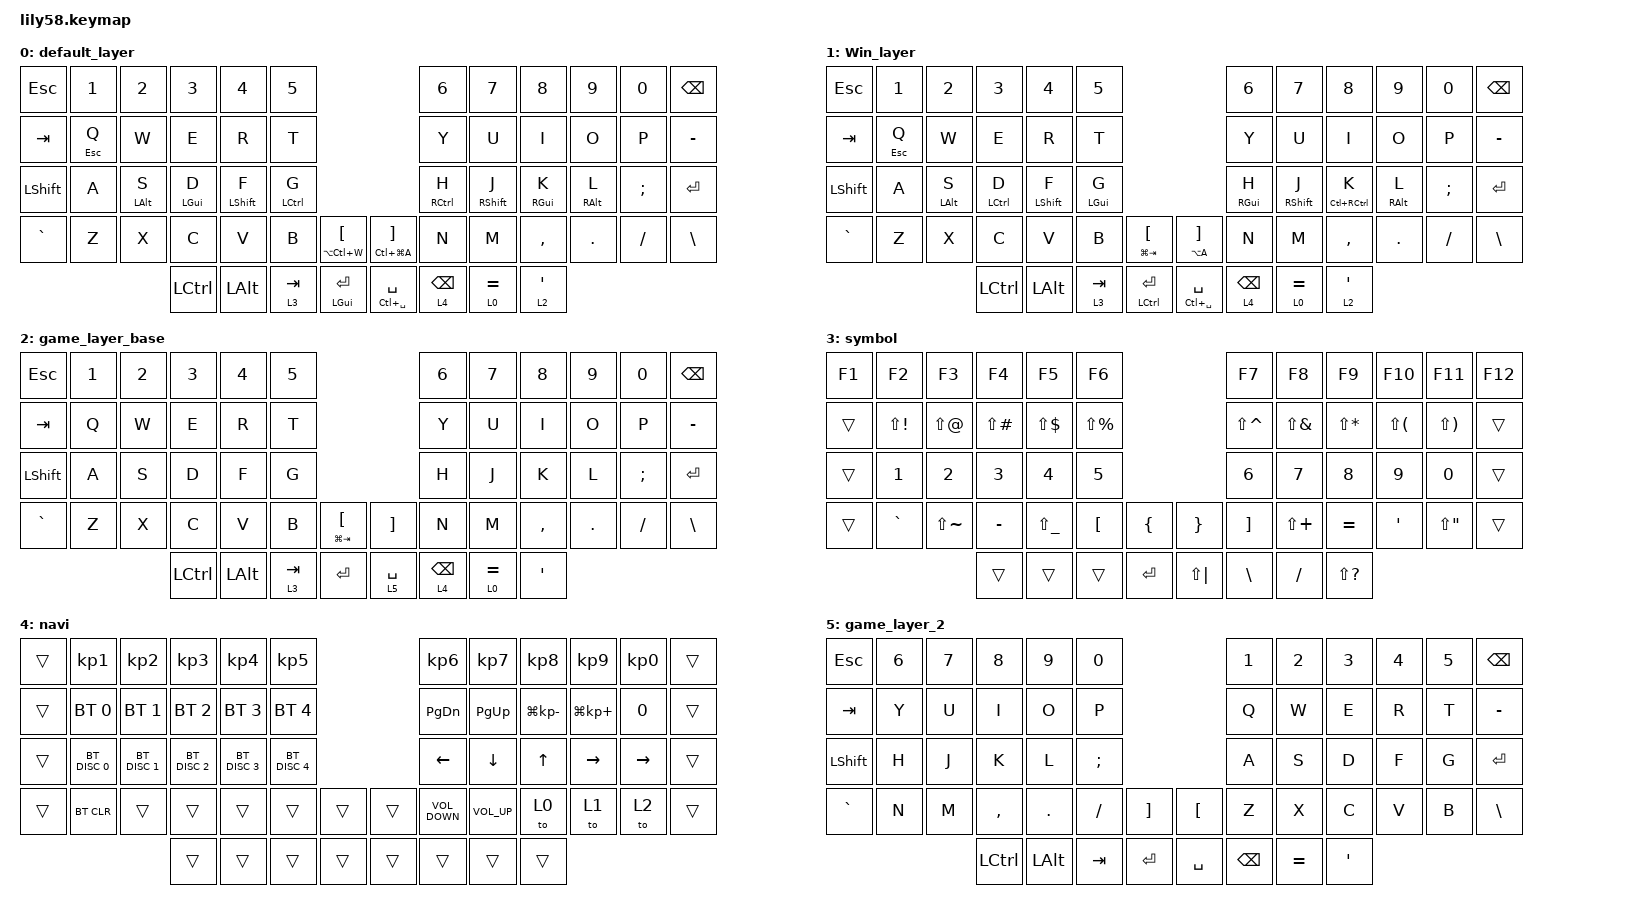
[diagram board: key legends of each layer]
/*
 * Copyright (c) 2020 The ZMK Contributors
 *
 * SPDX-License-Identifier: MIT
 */

#define BASE 0
#define LOWER 1
#define MOUSE_KEYS 2
#define MOUSE_TP 3
#define MOUSE_TP_SET 4
#define GAME 5
#define HAS_MOUSE_KEYS
#define HAS_MOUSE_TP

#include <dt-bindings/zmk/mouse.h>
#include <behaviors/mouse_keys.dtsi>
#include <behaviors.dtsi>
#include <dt-bindings/zmk/bt.h>
#include <dt-bindings/zmk/keys.h>
#include <dt-bindings/zmk/pointing.h>

/ {
    behaviors {
        /* [修复 1] 新增：定义缺失的 lt (Layer Tap) 行为 */

        lt: layer_tap {
            compatible = "zmk,behavior-hold-tap";
            label = "LAYER_TAP";
            bindings = <&mo>, <&kp>;

            #binding-cells = <2>;
            tapping-term-ms = <200>;
            flavor = "tap-preferred";
        };

        hm: homerow_mods {
            compatible = "zmk,behavior-hold-tap";
            label = "homerow_mods";
            bindings = <&kp>, <&kp>;

            #binding-cells = <2>;
            tapping-term-ms = <200>;
            flavor = "tap-preferred";
        };

        leftclick: leftclick {
            compatible = "zmk,behavior-tap-dance";
            label = "LEFTCLICK";
            #binding-cells = <0>;
            bindings = <&hm LC(SPACE) SPACE>, <&mkp LCLK>;
        };

        mouseclick_keypress: mouseclick_keypress {
            compatible = "zmk,behavior-hold-tap";
            label = "MOUSECLICK_KEYPRESS";
            bindings = <&mkp>, <&kp>;

            #binding-cells = <2>;
            tapping-term-ms = <200>;
            flavor = "tap-preferred";
        };

        /* [修复 2] 修正：将 &toggle 改为 &tog (ZMK 标准行为) */

        layer_lock: layer_lock {
            compatible = "zmk,behavior-hold-tap";
            label = "LAYER_LOCK";

            /* ZMK hold-tap 顺序为：<&长按行为>, <&轻按行为> */
            /* 意图：轻按=退格，长按=切换游戏层 */

            bindings = <&to>, <&kp>;

            #binding-cells = <2>;
            tapping-term-ms = <300>;
            flavor = "tap-preferred";
        };
    };

    /* [修复 3] 修正：条件层语法（去掉多余的尖括号） */

    conditional_layers {
        compatible = "zmk,conditional-layers";

        /* 格式：<目标层 掩码> */

        layers = < 5 ((1 << 1) | (1 << 2)) >;
    };

    keymap {
        compatible = "zmk,keymap";

        /* ========== 原有默认层：仅修改右上角 BACKSPACE 为 game_lock ========== */

        default_layer {
            bindings = <
&kp ESC     &kp N1        &kp N2          &kp N3      &kp N4       &kp N5                                                          &kp N6           &kp N7               &kp N8             &kp N9           &kp N0    &kp BACKSPACE
&kp TAB     &hm ESCAPE Q  &kp W           &kp E       &kp R        &kp T                                                           &kp Y            &kp U                &kp I              &kp O            &kp P     &kp MINUS
&kp LSHIFT  &kp A         &hm LEFT_ALT S  &hm LGUI D  &hm LSHFT F  &hm LCTRL G                                                     &hm RCTRL H      &hm RSHFT J          &hm RGUI K         &hm RIGHT_ALT L  &kp SEMI  &kp ENTER
&kp GRAVE   &kp Z         &kp X           &kp C       &kp V        &kp B        &hm LA(LC(W)) LBKT    &hm LC(LG(A)) RIGHT_BRACKET  &kp N            &kp M                &kp COMMA          &kp DOT          &kp FSLH  &kp BACKSLASH
                                          &kp LCTRL   &kp LALT     &lt 3 TAB    &hm LEFT_GUI ENTER    &hm LC(SPACE) SPACE          &lt 4 BACKSPACE  &layer_lock 0 EQUAL  &layer_lock 2 SQT
            >;
        };

        Win_layer {
            bindings = <
&kp ESC     &kp N1        &kp N2          &kp N3       &kp N4       &kp N5                                                   &kp N6           &kp N7               &kp N8             &kp N9           &kp N0    &kp BACKSPACE
&kp TAB     &hm ESCAPE Q  &kp W           &kp E        &kp R        &kp T                                                    &kp Y            &kp U                &kp I              &kp O            &kp P     &kp MINUS
&kp LSHIFT  &kp A         &hm LEFT_ALT S  &hm LCTRL D  &hm LSHFT F  &hm LGUI G                                               &hm RGUI H       &hm RSHFT J          &hm LC(RCTRL) K    &hm RIGHT_ALT L  &kp SEMI  &kp ENTER
&kp GRAVE   &kp Z         &kp X           &kp C        &kp V        &kp B       &hm LG(TAB) LBKT    &hm LA(A) RIGHT_BRACKET  &kp N            &kp M                &kp COMMA          &kp DOT          &kp FSLH  &kp BACKSLASH
                                          &kp LCTRL    &kp LALT     &lt 3 TAB   &hm LCTRL ENTER     &hm LC(SPACE) SPACE      &lt 4 BACKSPACE  &layer_lock 0 EQUAL  &layer_lock 2 SQT
            >;
        };

        game_layer_base {
            bindings = <
&kp ESC     &kp N1  &kp N2  &kp N3     &kp N4    &kp N5                                      &kp N6           &kp N7               &kp N8            &kp N9   &kp N0    &kp BACKSPACE
&kp TAB     &kp Q   &kp W   &kp E      &kp R     &kp T                                       &kp Y            &kp U                &kp I             &kp O    &kp P     &kp MINUS
&kp LSHIFT  &kp A   &kp S   &kp D      &kp F     &kp G                                       &kp H            &kp J                &kp K             &kp L    &kp SEMI  &kp ENTER
&kp GRAVE   &kp Z   &kp X   &kp C      &kp V     &kp B      &hm LG(TAB) LBKT    &kp RBKT     &kp N            &kp M                &kp COMMA         &kp DOT  &kp FSLH  &kp BACKSLASH
                            &kp LCTRL  &kp LALT  &lt 3 TAB  &kp ENTER           &lt 5 SPACE  &lt 4 BACKSPACE  &layer_lock 0 EQUAL  &kp SINGLE_QUOTE
            >;
        };

        symbol {
            bindings = <
&kp F1  &kp F2        &kp F3         &kp F4         &kp F5         &kp F6                                            &kp F7         &kp F8        &kp F9         &kp F10       &kp F11       &kp F12
&trans  &kp LS(EXCL)  &kp LS(AT)     &kp LS(POUND)  &kp LS(DLLR)   &kp LS(PRCNT)                                     &kp LS(CARET)  &kp LS(AMPS)  &kp LS(STAR)   &kp LS(LPAR)  &kp LS(RPAR)  &trans
&trans  &kp N1        &kp N2         &kp N3         &kp N4         &kp N5                                            &kp N6         &kp N7        &kp N8         &kp N9        &kp N0        &trans
&trans  &kp GRAVE     &kp LS(TILDE)  &kp MINUS      &kp LS(UNDER)  &kp LBKT       &kp LEFT_BRACE    &kp RIGHT_BRACE  &kp RBKT       &kp LS(PLUS)  &kp EQUAL      &kp SQT       &kp LS(DQT)   &trans
                                     &trans         &trans         &trans         &kp RET           &kp LS(PIPE)     &kp BACKSLASH  &kp FSLH      &kp LS(QMARK)
            >;
        };

        navi {
            bindings = <
&trans  &kp KP_NUMBER_1  &kp KP_NUMBER_2  &kp KP_NUMBER_3  &kp KP_NUMBER_4  &kp KP_NUMBER_5                    &kp KP_NUMBER_6    &kp KP_NUMBER_7  &kp KP_NUMBER_8   &kp KP_NUMBER_9  &kp KP_NUMBER_0  &trans
&trans  &bt BT_SEL 0     &bt BT_SEL 1     &bt BT_SEL 2     &bt BT_SEL 3     &bt BT_SEL 4                       &kp PAGE_DOWN      &kp PAGE_UP      &kp LG(KP_MINUS)  &kp LG(KP_PLUS)  &kp N0           &trans
&trans  &bt BT_DISC 0    &bt BT_DISC 1    &bt BT_DISC 2    &bt BT_DISC 3    &bt BT_DISC 4                      &kp LEFT           &kp DOWN         &kp UP_ARROW      &kp RIGHT        &kp RIGHT        &trans
&trans  &bt BT_CLR       &trans           &trans           &trans           &trans           &trans    &trans  &kp C_VOLUME_DOWN  &kp C_VOLUME_UP  &to 0             &to 1            &to 2            &trans
                                          &trans           &trans           &trans           &trans    &trans  &trans             &trans           &trans
            >;
        };

        game_layer_2 {
            bindings = <
&kp ESC     &kp N6  &kp N7  &kp N8     &kp N9    &kp N0                            &kp N1         &kp N2     &kp N3            &kp N4  &kp N5  &kp BACKSPACE
&kp TAB     &kp Y   &kp U   &kp I      &kp O     &kp P                             &kp Q          &kp W      &kp E             &kp R   &kp T   &kp MINUS
&kp LSHIFT  &kp H   &kp J   &kp K      &kp L     &kp SEMI                          &kp A          &kp S      &kp D             &kp F   &kp G   &kp ENTER
&kp GRAVE   &kp N   &kp M   &kp COMMA  &kp DOT   &kp FSLH  &kp RBKT     &kp LBKT   &kp Z          &kp X      &kp C             &kp V   &kp B   &kp BSLH
                            &kp LCTRL  &kp LALT  &kp TAB   &kp ENTER    &kp SPACE  &kp BACKSPACE  &kp EQUAL  &kp SINGLE_QUOTE
            >;
        };
    };
};
